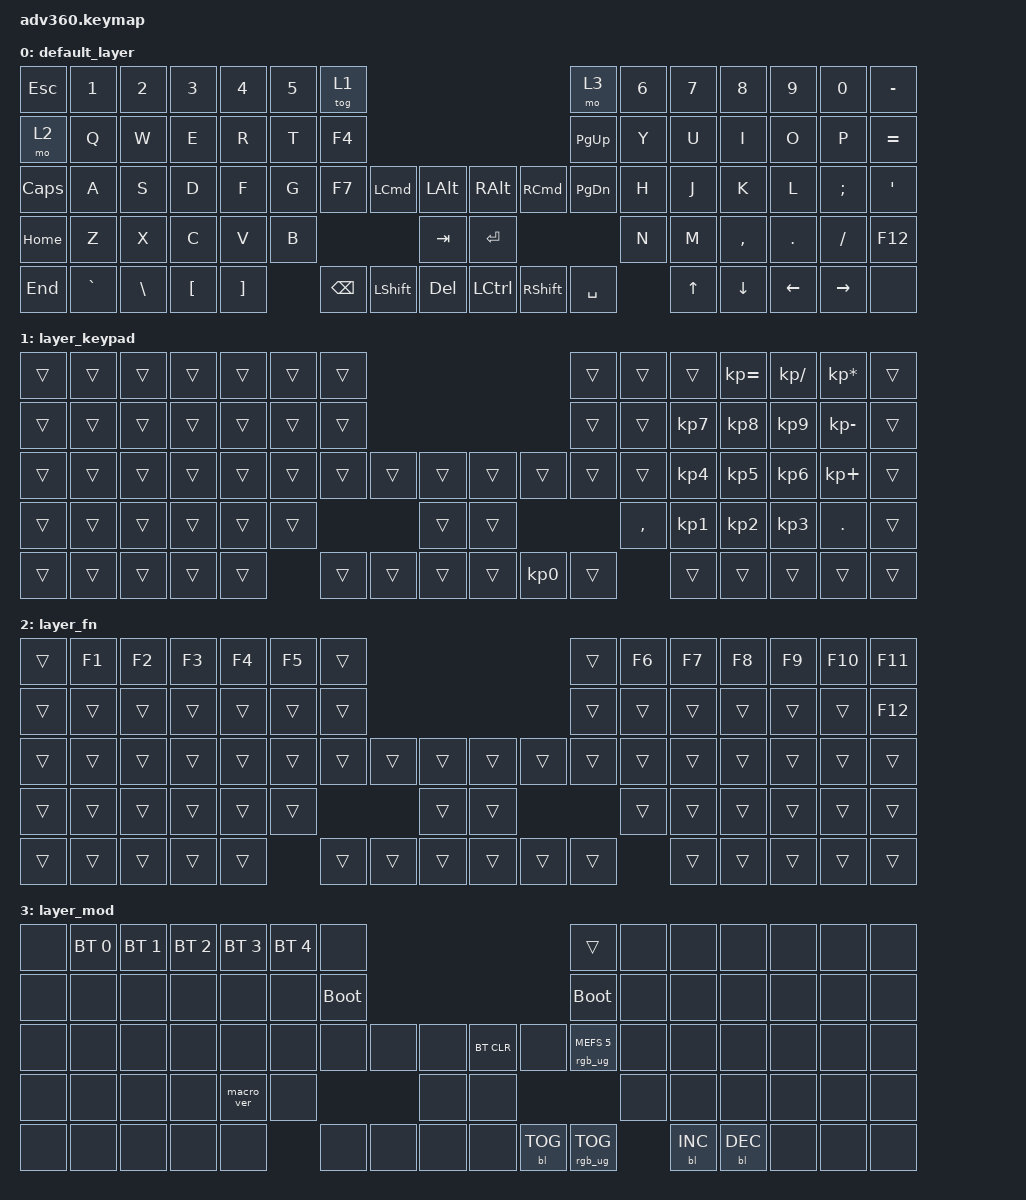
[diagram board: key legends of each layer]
/*
 * Copyright (c) 2020 The ZMK Contributors
 *
 * SPDX-License-Identifier: MIT
 */
/* THIS FILE WAS GENERATED!
 *
 * This file was generated automatically. You may or may not want to
 * edit it directly.
 */

#include <behaviors.dtsi>
#include <dt-bindings/zmk/backlight.h>
#include <dt-bindings/zmk/bt.h>
#include <dt-bindings/zmk/keys.h>
#include <dt-bindings/zmk/rgb.h>

/ {
    behaviors {
        #include "macros.dtsi"
    #include "version.dtsi"

        hm: homerow_mods {
            compatible = "zmk,behavior-hold-tap";
            label = "HOMEROW_MODS";
            #binding-cells = <2>;
            tapping-term-ms = <200>;
            quick_tap_ms = <175>;
            flavor = "tap-preferred";
            bindings = <&kp>, <&kp>;
        };
    };

    keymap {
        compatible = "zmk,keymap";

        default_layer {
            bindings = <
&kp ESC   &kp N1     &kp N2         &kp N3            &kp N4             &kp N5  &tog 1                                                                             &mo 3          &kp N6  &kp N7  &kp N8     &kp N9    &kp N0     &kp MINUS
&mo 2     &kp Q      &kp W          &kp E             &kp R              &kp T   &kp F4                                                                             &kp PAGE_UP    &kp Y   &kp U   &kp I      &kp O     &kp P      &kp EQUAL
&kp CAPS  &kp A      &kp S          &kp D             &kp F              &kp G   &kp F7    &kp LEFT_COMMAND  &kp LEFT_ALT      &kp RIGHT_ALT     &kp RIGHT_COMMAND  &kp PAGE_DOWN  &kp H   &kp J   &kp K      &kp L     &kp SEMI   &kp SQT
&kp HOME  &kp Z      &kp X          &kp C             &kp V              &kp B                               &kp TAB           &kp RETURN                                          &kp N   &kp M   &kp COMMA  &kp DOT   &kp FSLH   &kp F12
&kp END   &kp GRAVE  &kp BACKSLASH  &kp LEFT_BRACKET  &kp RIGHT_BRACKET          &kp BSPC  &kp LEFT_SHIFT    &kp DELETE        &kp LEFT_CONTROL  &kp RIGHT_SHIFT    &kp SPACE              &kp UP  &kp DOWN   &kp LEFT  &kp RIGHT  &none
            >;
        };

        layer_keypad {
            bindings = <
&trans  &trans  &trans  &trans  &trans  &trans  &trans                                         &trans  &trans     &trans     &kp KP_EQUAL  &kp KP_DIVIDE  &kp KP_MULTIPLY  &trans
&trans  &trans  &trans  &trans  &trans  &trans  &trans                                         &trans  &trans     &kp KP_N7  &kp KP_N8     &kp KP_N9      &kp KP_MINUS     &trans
&trans  &trans  &trans  &trans  &trans  &trans  &trans  &trans  &trans      &trans  &trans     &trans  &trans     &kp KP_N4  &kp KP_N5     &kp KP_N6      &kp KP_PLUS      &trans
&trans  &trans  &trans  &trans  &trans  &trans                  &trans      &trans                     &kp COMMA  &kp KP_N1  &kp KP_N2     &kp KP_N3      &kp DOT          &trans
&trans  &trans  &trans  &trans  &trans          &trans  &trans  &trans      &trans  &kp KP_N0  &trans             &trans     &trans        &trans         &trans           &trans
            >;
        };

        layer_fn {
            bindings = <
&trans  &kp F1  &kp F2  &kp F3  &kp F4  &kp F5  &trans                                      &trans  &kp F6  &kp F7  &kp F8  &kp F9  &kp F10  &kp F11
&trans  &trans  &trans  &trans  &trans  &trans  &trans                                      &trans  &trans  &trans  &trans  &trans  &trans   &kp F12
&trans  &trans  &trans  &trans  &trans  &trans  &trans  &trans  &trans      &trans  &trans  &trans  &trans  &trans  &trans  &trans  &trans   &trans
&trans  &trans  &trans  &trans  &trans  &trans                  &trans      &trans                  &trans  &trans  &trans  &trans  &trans   &trans
&trans  &trans  &trans  &trans  &trans          &trans  &trans  &trans      &trans  &trans  &trans          &trans  &trans  &trans  &trans   &trans
            >;
        };

        layer_mod {
            bindings = <
&none  &bt BT_SEL 0  &bt BT_SEL 1  &bt BT_SEL 2  &bt BT_SEL 3  &bt BT_SEL 4  &none                                                  &trans                  &none  &none       &none       &none  &none  &none
&none  &none         &none         &none         &none         &none         &bootloader                                            &bootloader             &none  &none       &none       &none  &none  &none
&none  &none         &none         &none         &none         &none         &none        &none  &none      &bt BT_CLR  &none       &rgb_ug RGB_MEFS_CMD 5  &none  &none       &none       &none  &none  &none
&none  &none         &none         &none         &macro_ver    &none                             &none      &none                                           &none  &none       &none       &none  &none  &none
&none  &none         &none         &none         &none                       &none        &none  &none      &none       &bl BL_TOG  &rgb_ug RGB_TOG                &bl BL_INC  &bl BL_DEC  &none  &none  &none
            >;
        };
    };
};
